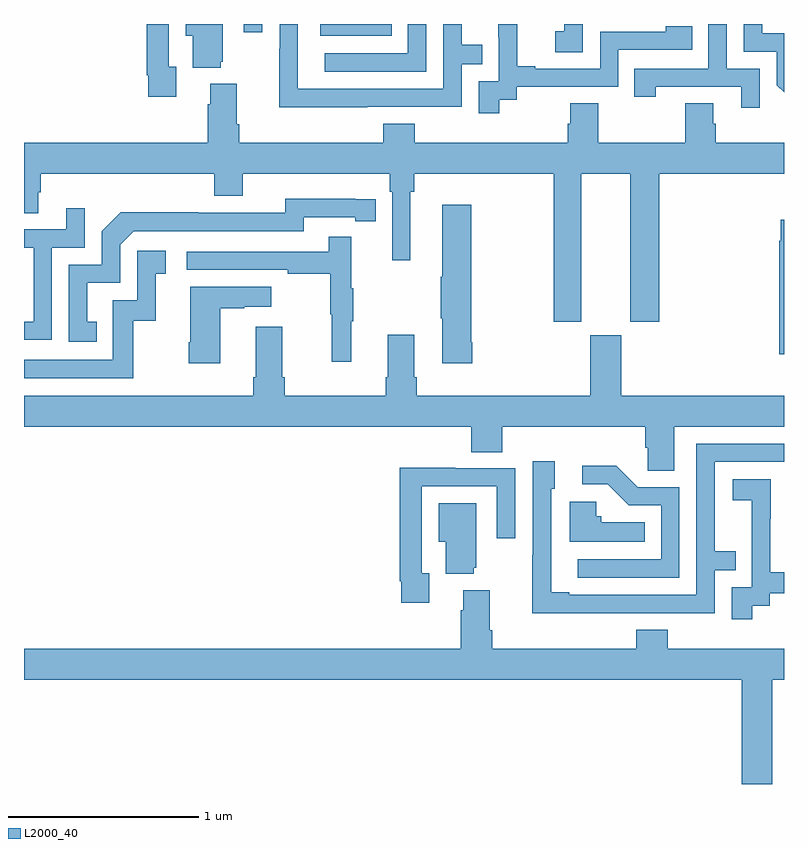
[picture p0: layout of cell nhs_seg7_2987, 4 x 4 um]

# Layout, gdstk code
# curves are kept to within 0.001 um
import gdstk
lib = gdstk.Library(unit=1e-6, precision=1e-09)
def R(c, l, rs):  # rectangles x0, y0, x1, y1
    for r in rs: c.add(gdstk.rectangle(r[:2], r[2:], *l))
def P(c, l, *ps):  # polygons
    for p in ps: c.add(gdstk.Polygon(p, *l))
L2000_40 = (2000, 40)

nhs_seg7_2987 = lib.new_cell('nhs_seg7_2987')
R(nhs_seg7_2987, L2000_40, [(302.558,1071.938,302.936,1072), (302.157,1071.957,302.253,1072)])
P(nhs_seg7_2987, L2000_40, [(303.502,1071.601),(303.594,1071.601),(303.594,1071.669),(304.128,1071.669),(304.128,1071.864),(304.517,1071.864),(304.517,1071.987),(304.377,1071.987),(304.377,1071.96),(304.032,1071.96),(304.032,1071.765),(303.691,1071.765),(303.691,1071.778),(303.596,1071.778),(303.596,1072),(303.497,1072),(303.497,1071.929),(303.498,1071.929),(303.498,1071.699),(303.393,1071.699),(303.393,1071.531),(303.502,1071.531)],
  [(303.117,1072),(303.021,1072),(303.021,1071.846),(302.583,1071.846),(302.583,1071.75),(303.117,1071.75)],
  [(302.807,1071.564),(303.303,1071.564),(303.303,1071.789),(303.413,1071.789),(303.413,1071.89),(303.303,1071.89),(303.303,1072),(303.207,1072),(303.207,1071.66),(302.442,1071.66),(302.442,1072),(302.346,1072),(302.346,1071.869),(302.344,1071.869),(302.344,1071.563),(302.807,1071.563)],
  [(305,1071.951),(304.885,1071.951),(304.885,1072),(304.788,1072),(304.788,1071.855),(304.962,1071.855),(304.962,1071.678),(305,1071.64)],
  [(304.872,1071.765),(304.698,1071.765),(304.698,1072),(304.602,1072),(304.602,1071.765),(304.213,1071.765),(304.213,1071.618),(304.324,1071.618),(304.324,1071.669),(304.775,1071.669),(304.775,1071.558),(304.872,1071.558)],
  [(303.942,1072),(303.844,1072),(303.844,1071.961),(303.795,1071.961),(303.795,1071.852),(303.942,1071.852)],
  [(302.036,1071.801),(302.047,1071.801),(302.047,1072),(301.85,1072),(301.85,1071.938),(301.889,1071.938),(301.889,1071.77),(302.036,1071.77)],
  [(301.801,1071.774),(301.761,1071.774),(301.761,1072),(301.645,1072),(301.645,1071.73),(301.653,1071.73),(301.653,1071.618),(301.801,1071.618)],
  [(302.891,1071.475),(302.891,1071.376),(302.132,1071.376),(302.132,1071.472),(302.119,1071.472),(302.119,1071.685),(301.979,1071.685),(301.979,1071.578),(301.967,1071.578),(301.967,1071.376),(301,1071.376),(301,1071.004),(301.075,1071.004),(301.075,1071.114),(301.088,1071.114),(301.088,1071.212),(302,1071.212),(302,1071.095),(302.152,1071.095),(302.152,1071.212),(302.924,1071.212),(302.924,1071.116),(302.937,1071.116),(302.937,1070.757),(303.034,1070.757),(303.034,1071.116),(303.053,1071.116),(303.053,1071.212),(303.787,1071.212),(303.787,1070.433),(303.934,1070.433),(303.934,1071.212),(304.19,1071.212),(304.19,1070.433),(304.343,1070.433),(304.343,1071.212),(305,1071.212),(305,1071.376),(304.64,1071.376),(304.64,1071.474),(304.627,1071.474),(304.627,1071.584),(304.48,1071.584),(304.48,1071.376),(304.023,1071.376),(304.023,1071.584),(303.875,1071.584),(303.875,1071.474),(303.863,1071.474),(303.863,1071.376),(303.056,1071.376),(303.056,1071.475)],
  [(301.382,1070.433),(301.333,1070.433),(301.333,1070.637),(301.506,1070.637),(301.506,1070.838),(301.578,1070.91),(302.472,1070.91),(302.472,1070.982),(302.744,1070.982),(302.744,1070.962),(302.852,1070.962),(302.852,1071.078),(302.376,1071.079),(302.376,1071.006),(301.916,1071.006),(301.916,1071.008),(301.508,1071.008),(301.41,1070.91),(301.41,1070.733),(301.236,1070.733),(301.236,1070.328),(301.382,1070.328)],
  [(303.359,1070.326),(303.354,1070.326),(303.354,1071.049),(303.2,1071.049),(303.2,1070.669),(303.193,1070.669),(303.193,1070.452),(303.2,1070.452),(303.2,1070.214),(303.359,1070.214)],
  [(301.146,1070.823),(301.32,1070.823),(301.32,1071.031),(301.223,1071.031),(301.223,1070.919),(301,1070.919),(301,1070.823),(301.05,1070.823),(301.05,1070.434),(301,1070.434),(301,1070.337),(301.146,1070.337)],
  [(305,1070.971),(304.983,1070.971),(304.983,1070.858),(304.975,1070.858),(304.975,1070.261),(305,1070.261)],
  [(302.723,1070.435),(302.734,1070.435),(302.734,1070.609),(302.723,1070.609),(302.723,1070.881),(302.605,1070.881),(302.605,1070.802),(301.857,1070.802),(301.857,1070.706),(302.389,1070.706),(302.389,1070.686),(302.613,1070.686),(302.613,1070.472),(302.62,1070.472),(302.62,1070.223),(302.723,1070.223)],
  [(301.576,1070.439),(301.694,1070.439),(301.694,1070.685),(301.747,1070.685),(301.747,1070.806),(301.596,1070.806),(301.596,1070.547),(301.467,1070.547),(301.467,1070.232),(301,1070.232),(301,1070.136),(301.576,1070.136)],
  [(302.032,1070.503),(302.159,1070.503),(302.159,1070.513),(302.302,1070.513),(302.302,1070.617),(301.874,1070.617),(301.874,1070.326),(301.867,1070.326),(301.867,1070.214),(302.032,1070.214)],
  [(304.423,1069.88),(305,1069.88),(305,1070.044),(304.144,1070.044),(304.144,1070.361),(303.98,1070.361),(303.98,1070.044),(303.068,1070.044),(303.068,1070.14),(303.055,1070.14),(303.055,1070.365),(302.915,1070.365),(302.915,1070.14),(302.903,1070.14),(302.903,1070.044),(302.372,1070.044),(302.372,1070.14),(302.359,1070.14),(302.359,1070.407),(302.219,1070.407),(302.219,1070.14),(302.207,1070.14),(302.207,1070.044),(301,1070.044),(301,1069.88),(303.353,1069.88),(303.353,1069.747),(303.518,1069.747),(303.518,1069.88),(304.271,1069.88),(304.271,1069.771),(304.284,1069.771),(304.284,1069.648),(304.423,1069.648)],
  [(304.139,1068.9),(304.635,1068.9),(304.635,1069.125),(304.745,1069.125),(304.745,1069.226),(304.635,1069.226),(304.635,1069.695),(305,1069.695),(305,1069.791),(304.539,1069.791),(304.539,1068.996),(303.871,1068.996),(303.871,1069.009),(303.774,1069.009),(303.774,1069.554),(303.793,1069.554),(303.793,1069.699),(303.678,1069.699),(303.678,1069.205),(303.676,1069.205),(303.676,1068.899),(304.139,1068.899)],
  [(304.449,1069.563),(304.23,1069.563),(304.117,1069.676),(303.939,1069.676),(303.939,1069.578),(304.073,1069.578),(304.184,1069.467),(304.353,1069.467),(304.353,1069.182),(303.915,1069.182),(303.915,1069.086),(304.449,1069.086)],
  [(303.133,1069.11),(303.093,1069.11),(303.093,1069.566),(303.489,1069.566),(303.489,1069.293),(303.585,1069.293),(303.585,1069.662),(303.269,1069.662),(303.269,1069.664),(302.977,1069.664),(302.977,1069.066),(302.985,1069.066),(302.985,1068.954),(303.133,1068.954)],
  [(304.834,1068.937),(304.926,1068.937),(304.926,1069.005),(305,1069.005),(305,1069.114),(304.928,1069.114),(304.928,1069.397),(304.929,1069.397),(304.929,1069.603),(304.731,1069.603),(304.731,1069.493),(304.829,1069.493),(304.829,1069.265),(304.83,1069.265),(304.83,1069.035),(304.725,1069.035),(304.725,1068.867),(304.834,1068.867)],
  [(304.268,1069.378),(304.038,1069.378),(304.038,1069.41),(304.011,1069.41),(304.011,1069.486),(303.872,1069.486),(303.872,1069.274),(304.268,1069.274)],
  [(303.368,1069.137),(303.379,1069.137),(303.379,1069.477),(303.182,1069.477),(303.182,1069.274),(303.221,1069.274),(303.221,1069.106),(303.368,1069.106)],
  [(304.938,1068.548),(305,1068.548),(305,1068.712),(304.388,1068.712),(304.388,1068.811),(304.223,1068.811),(304.223,1068.712),(303.464,1068.712),(303.464,1068.808),(303.451,1068.808),(303.451,1069.021),(303.311,1069.021),(303.311,1068.914),(303.299,1068.914),(303.299,1068.712),(301,1068.712),(301,1068.548),(304.778,1068.548),(304.778,1068),(304.938,1068)])

lib.write_gds('nhs_seg7_2987.gds')
